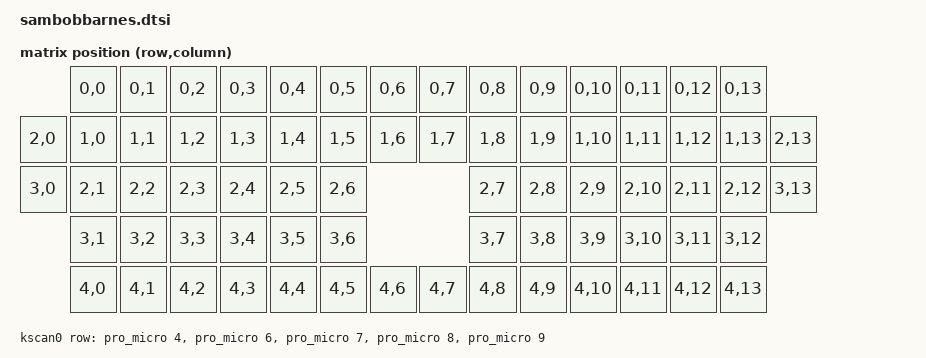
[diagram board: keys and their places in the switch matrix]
#include <dt-bindings/zmk/matrix_transform.h>


/ {
    chosen {
        zephyr,display = &oled;
        zmk,kscan = &kscan0;
        zmk,physical-layout = &default_layout;
    };

default_transform: keymap_transform0 {
        compatible = "zmk,matrix-transform";
        columns = <14>;
        rows = <5>;
        map = <
         //           ~      | 1      | 2      | 3      | 4      | 5      | SL           SR     | 6      | 7      | 8      | 9      | 0      | -
                     RC(0, 0) RC(0, 1) RC(0, 2) RC(0, 3) RC(0, 4) RC(0, 5) RC(0, 6)     RC(0, 7) RC(0, 8) RC(0, 9) RC(0,10) RC(0,11) RC(0,12) RC(0,13)
         // LU      |tab     | q      | w      | e      | r      | t      | [            ]      | y      | u      | i      | o      | p      | =      | LU
            RC(2, 0) RC(1, 0) RC(1, 1) RC(1, 2) RC(1, 3) RC(1, 4) RC(1, 5) RC(1, 6)     RC(1, 7) RC(1, 8) RC(1, 9) RC(1,10) RC(1,11) RC(1,12) RC(1,13) RC(2,13)
         // LD      |esc     | a      | s      | d      | f      | g                              h      | j      | k      | L      | ;      | '      | LD
            RC(3, 0) RC(2, 1) RC(2, 2) RC(2, 3) RC(2, 4) RC(2, 5) RC(2, 6)                       RC(2, 7) RC(2, 8) RC(2, 9) RC(2,10) RC(2,11) RC(2,12) RC(3,13)
         //          shf     | z      | x      | c      | v      | b                              n      | m      | ,      | .      | /      |sft
                     RC(3, 1) RC(3, 2) RC(3, 3) RC(3, 4) RC(3, 5) RC(3, 6)                       RC(3, 7) RC(3, 8) RC(3, 9) RC(3,10) RC(3,11) RC(3,12)
         //          win     | +      | -      | *      |ctl     | bs     |del          alt     |ent     |spc     | d0     | pd     | pu     |d4
                     RC(4, 0) RC(4, 1) RC(4, 2) RC(4, 3) RC(4, 4) RC(4, 5) RC(4, 6)     RC(4, 7) RC(4, 8) RC(4, 9) RC(4,10) RC(4,11) RC(4,12) RC(4,13)
        >;
      };
default_layout: default_layout {
    compatible = "zmk,physical-layout";
    display-name = "Default Layout";
    transform = <&default_transform>;
    kscan = <&kscan0>;
  };

kscan0: kscan {
    compatible = "zmk,kscan-gpio-matrix";
    diode-direction = "col2row";
    wakeup-source;

    row-gpios
        = <&pro_micro 4 (GPIO_ACTIVE_HIGH | GPIO_PULL_DOWN)>
        , <&pro_micro 6 (GPIO_ACTIVE_HIGH | GPIO_PULL_DOWN)>
        , <&pro_micro 7 (GPIO_ACTIVE_HIGH | GPIO_PULL_DOWN)>
        , <&pro_micro 8 (GPIO_ACTIVE_HIGH | GPIO_PULL_DOWN)>
        , <&pro_micro 9 (GPIO_ACTIVE_HIGH | GPIO_PULL_DOWN)>
        ;

    };
};

&pro_micro_i2c {
    status = "okay";

    oled: ssd1306@3c {
        compatible = "solomon,ssd1306fb";
        reg = <0x3c>;
        width = <128>;
        height = <64>;
        segment-offset = <0>;
        page-offset = <0>;
        display-offset = <0>;
        multiplex-ratio = <63>;
        segment-remap;
        com-invdir;
        com-sequential;
        inversion-on;
        prechargep = <0x22>;
    };
};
